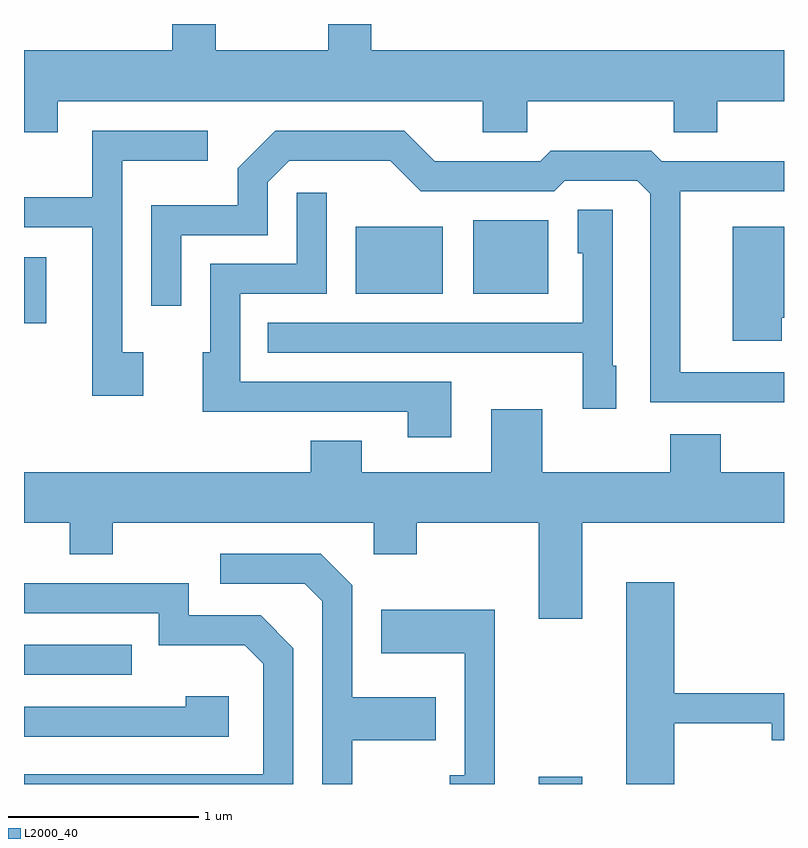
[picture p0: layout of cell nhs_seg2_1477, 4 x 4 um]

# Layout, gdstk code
import gdstk
lib = gdstk.Library(unit=1e-6, precision=1e-09)
def R(c, l, rs):  # rectangles x0, y0, x1, y1
    for r in rs: c.add(gdstk.rectangle(r[:2], r[2:], *l))
def P(c, l, *ps):  # polygons
    for p in ps: c.add(gdstk.Polygon(p, *l))
L2000_40 = (2000, 40)

nhs_seg2_1477 = lib.new_cell('nhs_seg2_1477')
R(nhs_seg2_1477, L2000_40, [(230.321,1075.802,230.549,1075.839), (227.611,1076.376,228.178,1076.534), (227.611,1078.226,227.729,1078.574), (229.356,1078.381,229.814,1078.734), (229.976,1078.381,230.369,1078.769)])
P(nhs_seg2_1477, L2000_40, [(227.789,1079.396),(230.026,1079.396),(230.026,1079.231),(230.259,1079.231),(230.259,1079.396),(231.031,1079.396),(231.031,1079.231),(231.259,1079.231),(231.259,1079.396),(231.611,1079.396),(231.611,1079.664),(229.439,1079.664),(229.439,1079.802),(229.211,1079.802),(229.211,1079.664),(228.619,1079.664),(228.619,1079.802),(228.391,1079.802),(228.391,1079.664),(227.611,1079.664),(227.611,1079.231),(227.789,1079.231)],
  [(228.239,1078.074),(228.129,1078.074),(228.129,1079.081),(228.578,1079.081),(228.578,1079.239),(227.971,1079.239),(227.971,1078.889),(227.611,1078.889),(227.611,1078.731),(227.971,1078.731),(227.971,1077.846),(228.239,1077.846)],
  [(231.611,1077.969),(231.064,1077.969),(231.064,1078.921),(231.611,1078.921),(231.611,1079.079),(230.967,1079.079),(230.912,1079.134),(230.384,1079.134),(230.329,1079.079),(229.772,1079.079),(229.612,1079.239),(228.934,1079.239),(228.736,1079.042),(228.736,1078.849),(228.281,1078.849),(228.281,1078.318),(228.439,1078.318),(228.439,1078.691),(228.894,1078.691),(228.894,1078.969),(229.007,1079.081),(229.539,1079.081),(229.699,1078.921),(230.402,1078.921),(230.457,1078.976),(230.839,1078.976),(230.906,1078.909),(230.906,1077.811),(231.611,1077.811)],
  [(229.859,1077.919),(228.749,1077.919),(228.749,1078.381),(229.204,1078.381),(229.204,1078.913),(229.046,1078.913),(229.046,1078.539),(228.591,1078.539),(228.591,1078.074),(228.551,1078.074),(228.551,1077.761),(229.631,1077.761),(229.631,1077.626),(229.859,1077.626)],
  [(230.729,1078.004),(230.709,1078.004),(230.709,1078.824),(230.526,1078.824),(230.526,1078.596),(230.551,1078.596),(230.551,1078.229),(228.893,1078.229),(228.893,1078.071),(230.551,1078.071),(230.551,1077.776),(230.729,1077.776)],
  [(231.599,1078.256),(231.611,1078.256),(231.611,1078.734),(231.341,1078.734),(231.341,1078.136),(231.599,1078.136)],
  [(230.549,1077.176),(231.611,1077.176),(231.611,1077.444),(231.279,1077.444),(231.279,1077.644),(231.011,1077.644),(231.011,1077.444),(230.339,1077.444),(230.339,1077.774),(230.071,1077.774),(230.071,1077.444),(229.389,1077.444),(229.389,1077.609),(229.121,1077.609),(229.121,1077.444),(227.611,1077.444),(227.611,1077.176),(227.851,1077.176),(227.851,1077.011),(228.079,1077.011),(228.079,1077.176),(229.451,1077.176),(229.451,1077.011),(229.679,1077.011),(229.679,1077.176),(230.321,1077.176),(230.321,1076.671),(230.549,1076.671)],
  [(229.339,1076.031),(229.779,1076.031),(229.779,1076.259),(229.339,1076.259),(229.339,1076.847),(229.172,1077.014),(228.643,1077.014),(228.643,1076.856),(229.089,1076.856),(229.181,1076.764),(229.181,1075.802),(229.339,1075.802)],
  [(231.034,1076.121),(231.546,1076.121),(231.546,1076.031),(231.611,1076.031),(231.611,1076.279),(231.034,1076.279),(231.034,1076.864),(230.781,1076.864),(230.781,1075.802),(231.034,1075.802)],
  [(229.029,1076.517),(228.857,1076.689),(228.479,1076.689),(228.479,1076.859),(227.611,1076.859),(227.611,1076.701),(228.321,1076.701),(228.321,1076.531),(228.774,1076.531),(228.871,1076.434),(228.871,1075.854),(227.611,1075.854),(227.611,1075.802),(229.029,1075.802)],
  [(230.089,1076.719),(229.491,1076.719),(229.491,1076.491),(229.931,1076.491),(229.931,1075.849),(229.853,1075.849),(229.853,1075.802),(230.089,1075.802)],
  [(228.689,1076.264),(228.461,1076.264),(228.461,1076.209),(227.611,1076.209),(227.611,1076.051),(228.689,1076.051)])

lib.write_gds('nhs_seg2_1477.gds')
